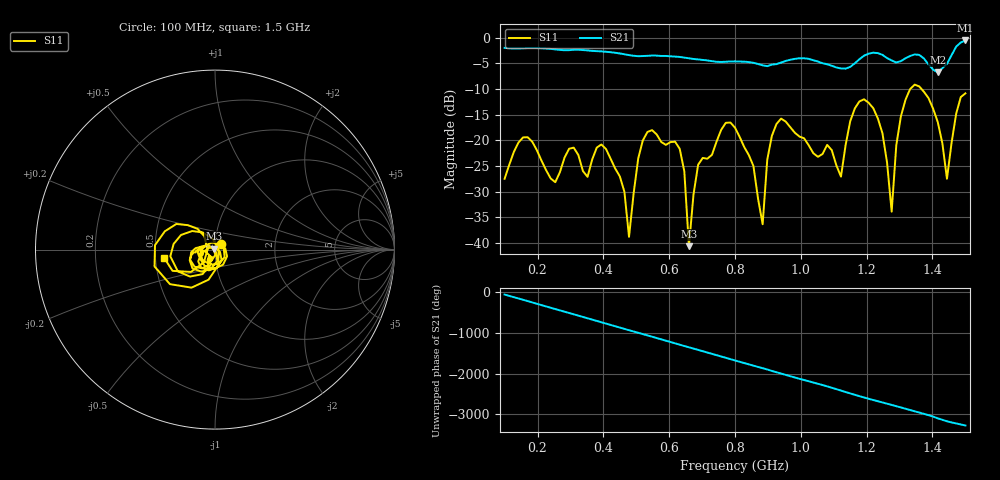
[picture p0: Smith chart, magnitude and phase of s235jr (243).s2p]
! NanoVNA-App
! Date: 2025-09-25 15:06:03
! Start: 100MHz Stop: 1,5GHz Points: 101
! S-Parameter data: F S11 S21 S12 S22
# Hz S RI R 50
!  Frequency  S11_Real  S11_Imag  S21_Real  S21_Imag  S12_Real  S12_Imag  S22_Real  S22_Imag
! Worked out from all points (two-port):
!   101 points, 100 MHz to 1.5 GHz, reference 50 ohm
!   highest |S21| = -0.52 dB at 1.5 GHz (marker M1); lowest = -6.8 dB at 1.416 GHz (marker M2)
!   |S21| within 3 dB of the highest: start of sweep to 494.8 MHz; 1.191 GHz to 1.252 GHz (60.81 MHz wide, 4.98 % of centre) (the widest 2 of 5)
!   lowest |S11| = -40.6 dB at 660 MHz (marker M3), VSWR 1.02, Z = 49.3 + j0.579 ohm
!   |S11| at or under -10 dB: start of sweep to 1.332 GHz; 1.367 GHz to end of sweep
!   S12 and S22 are empty: the file has one direction only
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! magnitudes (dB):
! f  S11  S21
! 100 MHz  -27.5  -2.0
! 156 MHz  -19.4  -2.0
! 338 MHz  -26.0  -2.4
! 408 MHz  -21.7  -2.7
! 478 MHz  -38.8  -3.4
! 520 MHz  -20.0  -3.6
! 576 MHz  -20.3  -3.5
! 632 MHz  -21.6  -3.7
! 660 MHz  -40.6  -4.0
! 688 MHz  -24.7  -4.2
! 800 MHz  -17.5  -4.6
! 884 MHz  -36.3  -5.4
! 926 MHz  -16.8  -5.1
! 1.038 GHz  -22.5  -4.4
! 1.122 GHz  -27.0  -6.0
! 1.192 GHz  -12.0  -3.5
! 1.248 GHz  -18.6  -3.3
! 1.276 GHz  -33.9  -4.4
! 1.332 GHz  -10.0  -3.6
! 1.416 GHz  -16.4  -6.8
! 1.444 GHz  -27.5  -5.1
! 1.5 GHz  -10.8  -0.5
